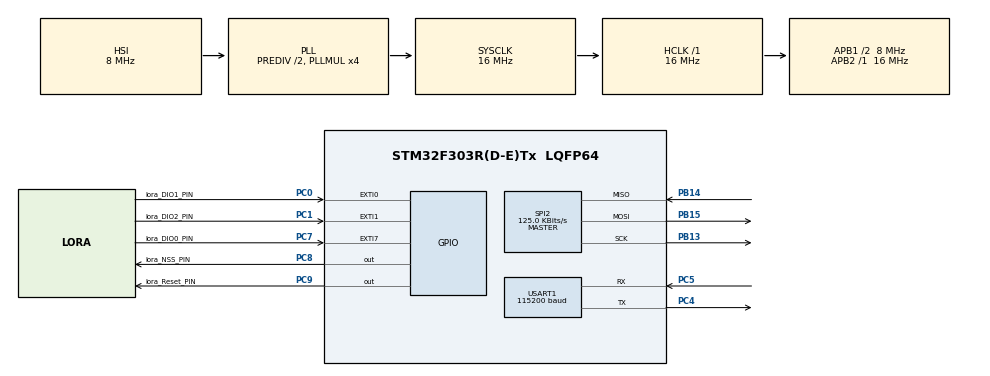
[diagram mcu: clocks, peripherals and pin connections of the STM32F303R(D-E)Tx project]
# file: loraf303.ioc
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Mcu.Family=STM32F3
Mcu.Name=STM32F303R(D-E)Tx
Mcu.Package=LQFP64
NVIC.EXTI0_IRQn=true\:0\:0\:false\:false\:true\:true\:true\:true
NVIC.EXTI1_IRQn=true\:0\:0\:false\:false\:true\:true\:true\:true
NVIC.EXTI9_5_IRQn=true\:0\:0\:false\:false\:true\:true\:true\:true
NVIC.PriorityGroup=NVIC_PRIORITYGROUP_0
NVIC.TIM4_IRQn=true\:0\:0\:false\:false\:true\:true\:true\:true
NVIC.TIM7_IRQn=true\:0\:0\:false\:false\:true\:true\:true\:true
NVIC.USART1_IRQn=true\:0\:0\:false\:false\:true\:true\:true\:true
PA13.Mode=Serial_Wire
PA13.Signal=SYS_JTMS-SWDIO
PA14.Mode=Serial_Wire
PA14.Signal=SYS_JTCK-SWCLK
PB13.Mode=Full_Duplex_Master
PB13.Signal=SPI2_SCK
PB14.Mode=Full_Duplex_Master
PB14.Signal=SPI2_MISO
PB15.Mode=Full_Duplex_Master
PB15.Signal=SPI2_MOSI
PC0.GPIO_Label=lora_DIO1_PIN
PC0.Signal=GPXTI0
PC1.GPIO_Label=lora_DIO2_PIN
PC1.Signal=GPXTI1
PC14-OSC32_IN.Mode=LSE-External-Oscillator
PC14-OSC32_IN.Signal=RCC_OSC32_IN
PC15-OSC32_OUT.Mode=LSE-External-Oscillator
PC15-OSC32_OUT.Signal=RCC_OSC32_OUT
PC4.Mode=Asynchronous
PC4.Signal=USART1_TX
PC5.Mode=Asynchronous
PC5.Signal=USART1_RX
PC7.GPIO_Label=lora_DIO0_PIN
PC7.Signal=GPXTI7
PC8.GPIO_Label=lora_NSS_PIN
PC8.Signal=GPIO_Output
PC9.GPIO_Label=lora_Reset_PIN
PC9.Signal=GPIO_Output
PF0-OSC_IN.Mode=HSE-External-Oscillator
PF0-OSC_IN.Signal=RCC_OSC_IN
PF1-OSC_OUT.Mode=HSE-External-Oscillator
PF1-OSC_OUT.Signal=RCC_OSC_OUT
ProjectManager.HeapSize=0x200
ProjectManager.StackSize=0x400
ProjectManager.TargetToolchain=STM32CubeIDE
RCC.AHBFreq_Value=16000000
RCC.APB1CLKDivider=RCC_HCLK_DIV2
RCC.APB1Freq_Value=8000000
RCC.APB1TimFreq_Value=16000000
RCC.APB2Freq_Value=16000000
RCC.APB2TimFreq_Value=16000000
RCC.CortexFreq_Value=16000000
RCC.HCLKFreq_Value=16000000
RCC.HSE_VALUE=8000000
RCC.HSI_VALUE=8000000
RCC.PLLDivider=RCC_PREDIV_DIV2
RCC.PLLM=8
RCC.PLLMUL=RCC_PLL_MUL4
RCC.PLLN=336
RCC.PLLP=RCC_PLLP_DIV4
RCC.PLLQ=7
RCC.RCC_PLLsource_Clock_Source_FROM_HSE=RCC_HSE_PREDIV_DIV2
RCC.SYSCLKFreq_VALUE=16000000
RCC.SYSCLKSourceVirtual=RCC_SYSCLKSOURCE_PLLCLK
RCC.USBFreq_Value=16000000
SPI2.BaudRatePrescaler=SPI_BAUDRATEPRESCALER_64
SPI2.CalculateBaudRate=125.0 KBits/s
SPI2.DataSize=SPI_DATASIZE_8BIT
SPI2.Direction=SPI_DIRECTION_2LINES
SPI2.Mode=SPI_MODE_MASTER
SPI2.VirtualType=VM_MASTER
TIM4.Channel-Output\ Compare1\ No\ Output=TIM_CHANNEL_1
TIM4.Period=30000-1
TIM4.Prescaler=244-1
TIM7.Period=65535-1
TIM7.Prescaler=1221-1
USART1.BaudRate=115200
USART1.VirtualMode-Asynchronous=VM_ASYNC
VP_TIM4_VS_no_output1.Mode=Output Compare1 No Output
VP_TIM7_VS_ClockSourceINT.Mode=Enable_Timer
board=NUCLEO-F303RE

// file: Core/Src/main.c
/* USER CODE BEGIN Header */
/**
  ******************************************************************************
  * @file           : main.c
  * @brief          : Main program body
  ******************************************************************************
  * @attention
  *
  * Copyright (c) 2023 STMicroelectronics.
  * All rights reserved.
  *
  * This software is licensed under terms that can be found in the LICENSE file
  * in the root directory of this software component.
  * If no LICENSE file comes with this software, it is provided AS-IS.
  *
  ******************************************************************************
  */
/* USER CODE END Header */
#include "main.h"

/* USER CODE BEGIN Includes */
#include "../../lmic/lmic.h"
#include "../../stm32/debug.h"
#include "stdio.h"
/* USER CODE END Includes */

/* USER CODE BEGIN PD */
// Max size array
#define SIZEARRAY 50
/* USER CODE END PD */

/* USER CODE BEGIN PM */
int a =0;
/* USER CODE END PM */

SPI_HandleTypeDef hspi2;

TIM_HandleTypeDef htim4;
TIM_HandleTypeDef htim7;

UART_HandleTypeDef huart1;

/* USER CODE BEGIN PV */
// application router ID (LSBF)  < ------- IMPORTANT
// application router ID (LSBF)
static const uint8_t APPEUI[8]  = {}; //{ 0xC1 , 0x67 , 0x01 , 0xD0 , 0x7E , 0xD5 , 0xB3 , 0x70};

// unique device ID (LSBF)
static const uint8_t DEVEUI[8]  ={ 0x70, 0xB3, 0xD5, 0x7E, 0xD8, 0x00, 0x21, 0x35 }; //{ 0x5b , 0xfe , 0xA1 , 0x59 , 0x2f , 0xf1 , 0x56 , 0x00 };

// device-specific AES key (derived from device EUI)
static const uint8_t DEVKEY[16] = {}; //{ 0x02, 0x25, 0xC3, 0x06, 0x01, 0xAF, 0xA9, 0xEC, 0x05, 0x74, 0xA2, 0x66, 0xA5, 0xAA, 0xE3, 0x18 };
// network.
static const uint8_t NWKSKEY[16] = { 0x5F, 0xCC, 0x77, 0xA8, 0x6A, 0xCB, 0x59, 0x7D, 0x5B, 0xD9, 0x80, 0x23, 0x13, 0x45, 0x94, 0x73 };

// LoRaWAN AppSKey, application session key
// This is the default Semtech key, which is used by the early prototype TTN
// network.
static const uint8_t APPSKEY[16] = { 0xAC, 0x06, 0x47, 0xBB, 0x19, 0xE8, 0x25, 0x1D, 0xF3, 0xB5, 0x70, 0xC6, 0x0C, 0xB0, 0x9A, 0x54 };

// LoRaWAN end-device address (DevAddr)
static const uint32_t DEVADDR = 0x27FD1B80; // <-- Change this address for every node!

//   ABP
/* USER CODE END PV */

void SystemClock_Config(void);
static void MX_GPIO_Init(void);
static void MX_SPI2_Init(void);
static void MX_TIM4_Init(void);
static void MX_TIM7_Init(void);
static void MX_USART1_UART_Init(void);
/* USER CODE BEGIN PFP */
void deleteBuffer(char* data)
{
  uint8_t len = strlen(data);
  for(uint8_t i = 0; i < len; i++)
  {
		data[i] = 0;
  }
}
/* USER CODE END PFP */

/* USER CODE BEGIN 0 */

void os_getArtEui (uint8_t* buf) {
    memcpy(buf, APPEUI, 8);
}

// provide device ID (8 bytes, LSBF)
void os_getDevEui (uint8_t* buf) {
    memcpy(buf, DEVEUI, 8);
}

// provide device key (16 bytes)
void os_getDevKey (uint8_t* buf) {
    memcpy(buf, DEVKEY, 16);
}

#define TX_INTERVAL 10

#define TX_TIMEOUT 60
uint8_t mydata[] = "Em chan anh roi a?";
//static uint8_t data[];
static osjob_t sendjob;

// Schedule TX every this many seconds (might become longer due to duty
// cycle limitations).
//void do_send(osjob_t* j){
//  HAL_GPIO_WritePin(GPIOC, GPIO_PIN_13, 0);
//  // Check if there is not a current TX/RX job running
//  if (LMIC.opmode & OP_TXRXPEND) {
//    debug_str("OP_TXRXPEND, not sending\n");
//  } else {
//    // Prepare upstream data transmission at the next possible time.
//    uint8_t data[] = "hello world"; // Replace sensor data with this string
//    LMIC_setTxData2(1, data, sizeof(data), 0);
//
//    char buf[100];
//    sprintf(buf, "Packet queued txcnt %d\n", LMIC.txCnt);
//    debug_str(buf);
//  }
//  // Next TX is scheduled after TX_COMPLETE event.
//}

void do_send(osjob_t* j){
	ostime_t tm = os_getTime();
		printf("Call %s %lums\n", __func__, (unsigned long)osticks2ms(tm));

		if (!(LMIC.opmode & OP_TXRXPEND)) {
			//unsigned char txt[5] = "LoRa";
			LMIC_setTxData2(1, mydata, sizeof(mydata), 0);
		}
		os_setTimedCallback(j, tm+sec2osticks(TX_TIMEOUT), do_send);
}
void onEvent (ev_t ev) {
    debug_event(ev);
    debug_str("\n");
    switch(ev) {
        case EV_SCAN_TIMEOUT:
            debug_str("EV_SCAN_TIMEOUT\n");
            break;
        case EV_BEACON_FOUND:
            debug_str("EV_BEACON_FOUND\n");
            break;
        case EV_BEACON_MISSED:
            debug_str("EV_BEACON_MISSED\n");
            break;
        case EV_BEACON_TRACKED:
            debug_str("EV_BEACON_TRACKED\n");
            break;
        case EV_JOINING:
            debug_str("EV_JOINING\n");
            break;
        case EV_JOINED:
            debug_str("EV_JOINED\n");
            break;
        case EV_RFU1:
            debug_str("EV_RFU1\n");
            break;
        case EV_JOIN_FAILED:
            debug_str("EV_JOIN_FAILED\n");
            break;
        case EV_REJOIN_FAILED:
            debug_str("EV_REJOIN_FAILED\n");
            os_setTimedCallback(&sendjob, os_getTime()+sec2osticks(TX_INTERVAL), do_send);
            break;
        case EV_TXCOMPLETE:
            debug_str("EV_TXCOMPLETE (includes waiting for RX windows)\n");
            if (LMIC.txrxFlags & TXRX_ACK)
              debug_str("Received ack\n");
            if (LMIC.dataLen) {
            	a=1;
              debug_str("Received \n");
              debug_int(LMIC.dataLen);
              debug_str(" bytes of payload\n");
            }
            // Schedule next transmission
            os_setTimedCallback(&sendjob, os_getTime()+sec2osticks(TX_INTERVAL), do_send);
            break;
        case EV_LOST_TSYNC:
            debug_str("EV_LOST_TSYNC\n");
            break;
        case EV_RESET:
            debug_str("EV_RESET\n");
            break;
        case EV_RXCOMPLETE:
            // data received in ping slot
            debug_str("EV_RXCOMPLETE\n");
            break;
        case EV_LINK_DEAD:
            debug_str("EV_LINK_DEAD\n");
            break;
        case EV_LINK_ALIVE:
            debug_str("EV_LINK_ALIVE\n");
            break;
         default:
            debug_str("Unknown event\n");
            break;
    }
}

void initfunc(osjob_t* j)
{
	   // Reset the MAC state. Session and pending data transfers will be discarded.
	   LMIC_reset();
	   LMIC_startJoining();
	   // Set static session parameters. Instead of dynamically establishing a session
	   // by joining the network, precomputed session parameters are be provided.
	   // On AVR, these values are stored in flash and only copied to RAM
	   // once. Copy them to a temporary buffer here, LMIC_setSession will
	   // copy them into a buffer of its own again.
	    uint8_t appskey[sizeof(APPSKEY)];
	    uint8_t nwkskey[sizeof(NWKSKEY)];
	    memcpy(appskey, APPSKEY, sizeof(APPSKEY));
	    memcpy(nwkskey, NWKSKEY, sizeof(NWKSKEY));
	    LMIC_setSession (0x1, DEVADDR, nwkskey, appskey);

	  #if defined(CFG_eu868)
	   // Set up the channels used by the Things Network, which corresponds
	   // to the defaults of most gateways. Without this, only three base
	   // channels from the LoRaWAN specification are used, which certainly
	   // works, so it is good for debugging, but can overload those
	   // frequencies, so be sure to configure the full frequency range of
	   // your network here (unless your network autoconfigures them).
	   // Setting up channels should happen after LMIC_setSession, as that
	   // configures the minimal channel set.
	   // NA-US channels 0-71 are configured automatically
	   LMIC_setupChannel(0, 903900000, DR_RANGE_MAP(DR_SF12, DR_SF7),  BAND_CENTI);      // g-band
	   LMIC_setupChannel(1, 904100000, DR_RANGE_MAP(DR_SF12, DR_SF7B), BAND_CENTI);      // g-band
	   LMIC_setupChannel(2, 904300000, DR_RANGE_MAP(DR_SF12, DR_SF7),  BAND_CENTI);      // g-band
	   LMIC_setupChannel(3, 904500000, DR_RANGE_MAP(DR_SF12, DR_SF7),  BAND_CENTI);      // g-band
	   LMIC_setupChannel(4, 904700000, DR_RANGE_MAP(DR_SF12, DR_SF7),  BAND_CENTI);      // g-band
	   LMIC_setupChannel(5, 904900000, DR_RANGE_MAP(DR_SF12, DR_SF7),  BAND_CENTI);      // g-band
	   LMIC_setupChannel(6, 905100000, DR_RANGE_MAP(DR_SF12, DR_SF7),  BAND_CENTI);      // g-band
	   LMIC_setupChannel(7, 905300000, DR_RANGE_MAP(DR_SF12, DR_SF7),  BAND_CENTI);      // g-band
	   LMIC_setupChannel(8, 904600000, DR_RANGE_MAP(DR_FSK,  DR_FSK),  BAND_MILLI);      // g2-band
	   // TTN defines an additional channel at 869.525Mhz using SF9 for class B
	   // devices' ping slots. LMIC does not have an easy way to define set this
	   // frequency and support for class B is spotty and untested, so this
	   // frequency is not configured here.
	   #elif defined(CFG_us915)
	   // NA-US channels 0-71 are configured automatically
	   // but only one group of 8 should (a subband) should be active
	   // TTN recommends the second sub band, 1 in a zero based count.
	   // https://github.com/TheThingsNetwork/gateway-conf/blob/master/US-global_conf.json
	   LMIC_selectSubBand(1);
	  #endif

	   // Disable link check validation
	   LMIC_setLinkCheckMode(0);

	   // TTN uses SF9 for its RX2 window.
	   LMIC.dn2Dr = DR_SF9;

	   // Set data rate and transmit power for uplink (note: txpow seems to be ignored by the library)
	   LMIC_setDrTxpow(DR_SF9,14);
	   os_setTimedCallback(&sendjob, os_getTime(), do_send);
	   // Start job

	  // time= HAL_GetTick();
}
/* USER CODE END 0 */

int main(void)
{

  /* MCU Configuration--------------------------------------------------------*/

  /* Reset of all peripherals, Initializes the Flash interface and the Systick. */
  HAL_Init();

  /* Configure the system clock */
  SystemClock_Config();

  /* Initialize all configured peripherals */
  MX_GPIO_Init();
  MX_SPI2_Init();
  MX_TIM4_Init();
  MX_TIM7_Init();
  MX_USART1_UART_Init();
  /* USER CODE BEGIN 2 */
  HAL_TIM_Base_Start_IT(&htim4);    // <-----------  change to your setup
  HAL_TIM_Base_Start_IT(&htim7);    // <-----------  change to your setup
   __HAL_SPI_ENABLE(&hspi2);      	// <-----------  change to your setup
  /* USER CODE END 2 */

  /* Infinite loop */
  /* USER CODE BEGIN WHILE */
osjob_t initjob;
os_init();
initfunc(&initjob);
do_send(&sendjob);
  while (1)
  {
    /* USER CODE END WHILE */
	  os_runloop_once();
  }
}

void SystemClock_Config(void)
{
  RCC_OscInitTypeDef RCC_OscInitStruct = {0};
  RCC_ClkInitTypeDef RCC_ClkInitStruct = {0};
  RCC_PeriphCLKInitTypeDef PeriphClkInit = {0};

  /** Initializes the RCC Oscillators according to the specified parameters
  * in the RCC_OscInitTypeDef structure.
  */
  RCC_OscInitStruct.OscillatorType = RCC_OSCILLATORTYPE_HSI;
  RCC_OscInitStruct.HSIState = RCC_HSI_ON;
  RCC_OscInitStruct.HSICalibrationValue = RCC_HSICALIBRATION_DEFAULT;
  RCC_OscInitStruct.PLL.PLLState = RCC_PLL_ON;
  RCC_OscInitStruct.PLL.PLLSource = RCC_PLLSOURCE_HSI;
  RCC_OscInitStruct.PLL.PLLMUL = RCC_PLL_MUL4;
  RCC_OscInitStruct.PLL.PREDIV = RCC_PREDIV_DIV2;
  if (HAL_RCC_OscConfig(&RCC_OscInitStruct) != HAL_OK)
  {
    Error_Handler();
  }

  /** Initializes the CPU, AHB and APB buses clocks
  */
  RCC_ClkInitStruct.ClockType = RCC_CLOCKTYPE_HCLK|RCC_CLOCKTYPE_SYSCLK
                              |RCC_CLOCKTYPE_PCLK1|RCC_CLOCKTYPE_PCLK2;
  RCC_ClkInitStruct.SYSCLKSource = RCC_SYSCLKSOURCE_PLLCLK;
  RCC_ClkInitStruct.AHBCLKDivider = RCC_SYSCLK_DIV1;
  RCC_ClkInitStruct.APB1CLKDivider = RCC_HCLK_DIV2;
  RCC_ClkInitStruct.APB2CLKDivider = RCC_HCLK_DIV1;

  if (HAL_RCC_ClockConfig(&RCC_ClkInitStruct, FLASH_LATENCY_0) != HAL_OK)
  {
    Error_Handler();
  }
  PeriphClkInit.PeriphClockSelection = RCC_PERIPHCLK_USART1|RCC_PERIPHCLK_TIM34;
  PeriphClkInit.Usart1ClockSelection = RCC_USART1CLKSOURCE_PCLK2;
  PeriphClkInit.Tim34ClockSelection = RCC_TIM34CLK_HCLK;
  if (HAL_RCCEx_PeriphCLKConfig(&PeriphClkInit) != HAL_OK)
  {
    Error_Handler();
  }
}

static void MX_SPI2_Init(void)
{

  /* SPI2 parameter configuration*/
  hspi2.Instance = SPI2;
  hspi2.Init.Mode = SPI_MODE_MASTER;
  hspi2.Init.Direction = SPI_DIRECTION_2LINES;
  hspi2.Init.DataSize = SPI_DATASIZE_8BIT;
  hspi2.Init.CLKPolarity = SPI_POLARITY_LOW;
  hspi2.Init.CLKPhase = SPI_PHASE_1EDGE;
  hspi2.Init.NSS = SPI_NSS_SOFT;
  hspi2.Init.BaudRatePrescaler = SPI_BAUDRATEPRESCALER_64;
  hspi2.Init.FirstBit = SPI_FIRSTBIT_MSB;
  hspi2.Init.TIMode = SPI_TIMODE_DISABLE;
  hspi2.Init.CRCCalculation = SPI_CRCCALCULATION_DISABLE;
  hspi2.Init.CRCPolynomial = 7;
  hspi2.Init.CRCLength = SPI_CRC_LENGTH_DATASIZE;
  hspi2.Init.NSSPMode = SPI_NSS_PULSE_ENABLE;
  if (HAL_SPI_Init(&hspi2) != HAL_OK)
  {
    Error_Handler();
  }

}

static void MX_TIM4_Init(void)
{

  TIM_MasterConfigTypeDef sMasterConfig = {0};
  TIM_OC_InitTypeDef sConfigOC = {0};

  htim4.Instance = TIM4;
  htim4.Init.Prescaler = 244-1;
  htim4.Init.CounterMode = TIM_COUNTERMODE_UP;
  htim4.Init.Period = 30000-1;
  htim4.Init.ClockDivision = TIM_CLOCKDIVISION_DIV1;
  htim4.Init.AutoReloadPreload = TIM_AUTORELOAD_PRELOAD_DISABLE;
  if (HAL_TIM_OC_Init(&htim4) != HAL_OK)
  {
    Error_Handler();
  }
  sMasterConfig.MasterOutputTrigger = TIM_TRGO_RESET;
  sMasterConfig.MasterSlaveMode = TIM_MASTERSLAVEMODE_DISABLE;
  if (HAL_TIMEx_MasterConfigSynchronization(&htim4, &sMasterConfig) != HAL_OK)
  {
    Error_Handler();
  }
  sConfigOC.OCMode = TIM_OCMODE_TIMING;
  sConfigOC.Pulse = 0;
  sConfigOC.OCPolarity = TIM_OCPOLARITY_HIGH;
  sConfigOC.OCFastMode = TIM_OCFAST_DISABLE;
  if (HAL_TIM_OC_ConfigChannel(&htim4, &sConfigOC, TIM_CHANNEL_1) != HAL_OK)
  {
    Error_Handler();
  }

}

static void MX_TIM7_Init(void)
{

  TIM_MasterConfigTypeDef sMasterConfig = {0};

  htim7.Instance = TIM7;
  htim7.Init.Prescaler = 1221-1;
  htim7.Init.CounterMode = TIM_COUNTERMODE_UP;
  htim7.Init.Period = 65535-1;
  htim7.Init.AutoReloadPreload = TIM_AUTORELOAD_PRELOAD_DISABLE;
  if (HAL_TIM_Base_Init(&htim7) != HAL_OK)
  {
    Error_Handler();
  }
  sMasterConfig.MasterOutputTrigger = TIM_TRGO_RESET;
  sMasterConfig.MasterSlaveMode = TIM_MASTERSLAVEMODE_DISABLE;
  if (HAL_TIMEx_MasterConfigSynchronization(&htim7, &sMasterConfig) != HAL_OK)
  {
    Error_Handler();
  }

}

static void MX_USART1_UART_Init(void)
{

  huart1.Instance = USART1;
  huart1.Init.BaudRate = 115200;
  huart1.Init.WordLength = UART_WORDLENGTH_8B;
  huart1.Init.StopBits = UART_STOPBITS_1;
  huart1.Init.Parity = UART_PARITY_NONE;
  huart1.Init.Mode = UART_MODE_TX_RX;
  huart1.Init.HwFlowCtl = UART_HWCONTROL_NONE;
  huart1.Init.OverSampling = UART_OVERSAMPLING_16;
  huart1.Init.OneBitSampling = UART_ONE_BIT_SAMPLE_DISABLE;
  huart1.AdvancedInit.AdvFeatureInit = UART_ADVFEATURE_NO_INIT;
  if (HAL_UART_Init(&huart1) != HAL_OK)
  {
    Error_Handler();
  }

}

static void MX_GPIO_Init(void)
{
  GPIO_InitTypeDef GPIO_InitStruct = {0};

  /* GPIO Ports Clock Enable */
  __HAL_RCC_GPIOC_CLK_ENABLE();
  __HAL_RCC_GPIOF_CLK_ENABLE();
  __HAL_RCC_GPIOB_CLK_ENABLE();
  __HAL_RCC_GPIOA_CLK_ENABLE();

  /*Configure GPIO pin Output Level */
  HAL_GPIO_WritePin(GPIOC, lora_NSS_PIN_Pin|lora_Reset_PIN_Pin, GPIO_PIN_RESET);

  /*Configure GPIO pins : lora_DIO1_PIN_Pin lora_DIO2_PIN_Pin lora_DIO0_PIN_Pin */
  GPIO_InitStruct.Pin = lora_DIO1_PIN_Pin|lora_DIO2_PIN_Pin|lora_DIO0_PIN_Pin;
  GPIO_InitStruct.Mode = GPIO_MODE_IT_RISING;
  GPIO_InitStruct.Pull = GPIO_NOPULL;
  HAL_GPIO_Init(GPIOC, &GPIO_InitStruct);

  /*Configure GPIO pins : lora_NSS_PIN_Pin lora_Reset_PIN_Pin */
  GPIO_InitStruct.Pin = lora_NSS_PIN_Pin|lora_Reset_PIN_Pin;
  GPIO_InitStruct.Mode = GPIO_MODE_OUTPUT_PP;
  GPIO_InitStruct.Pull = GPIO_NOPULL;
  GPIO_InitStruct.Speed = GPIO_SPEED_FREQ_LOW;
  HAL_GPIO_Init(GPIOC, &GPIO_InitStruct);

  /* EXTI interrupt init*/
  HAL_NVIC_SetPriority(EXTI0_IRQn, 0, 0);
  HAL_NVIC_EnableIRQ(EXTI0_IRQn);

  HAL_NVIC_SetPriority(EXTI1_IRQn, 0, 0);
  HAL_NVIC_EnableIRQ(EXTI1_IRQn);

  HAL_NVIC_SetPriority(EXTI9_5_IRQn, 0, 0);
  HAL_NVIC_EnableIRQ(EXTI9_5_IRQn);

}

void Error_Handler(void)
{
  __disable_irq();
  while (1)
  {
  }
}
